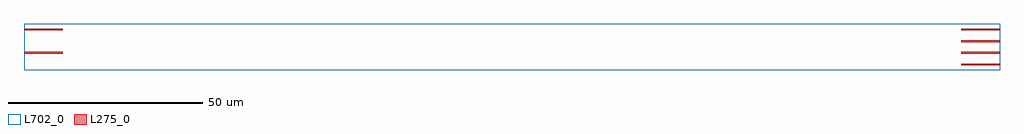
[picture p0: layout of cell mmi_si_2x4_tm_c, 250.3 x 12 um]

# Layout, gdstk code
import gdstk
lib = gdstk.Library(unit=1e-6, precision=1e-09)
def R(c, l, rs):  # rectangles x0, y0, x1, y1
    for r in rs: c.add(gdstk.rectangle(r[:2], r[2:], *l))
def A(c, l, x, y, w, h, nx, ny, dx, dy):  # array of equal rectangles
    R(c, l, [(x+i*dx, y+j*dy, x+i*dx+w, y+j*dy+h) for i in range(nx) for j in range(ny)])
L275_0 = (275, 0)
L702_0 = (702, 0)

mmi_si_2x4_tm_c = lib.new_cell('mmi_si_2x4_tm_c')
A(mmi_si_2x4_tm_c, L275_0, 166.5, -1.725, 10, 0.45, 1, 4, 0, 3)
R(mmi_si_2x4_tm_c, L275_0, [(-73.8,1.275,-63.8,1.725), (-73.8,7.275,-63.8,7.725)])
R(mmi_si_2x4_tm_c, L702_0, [(-73.8,-3,176.5,9)])

lib.write_gds('mmi_si_2x4_tm_c.gds')
